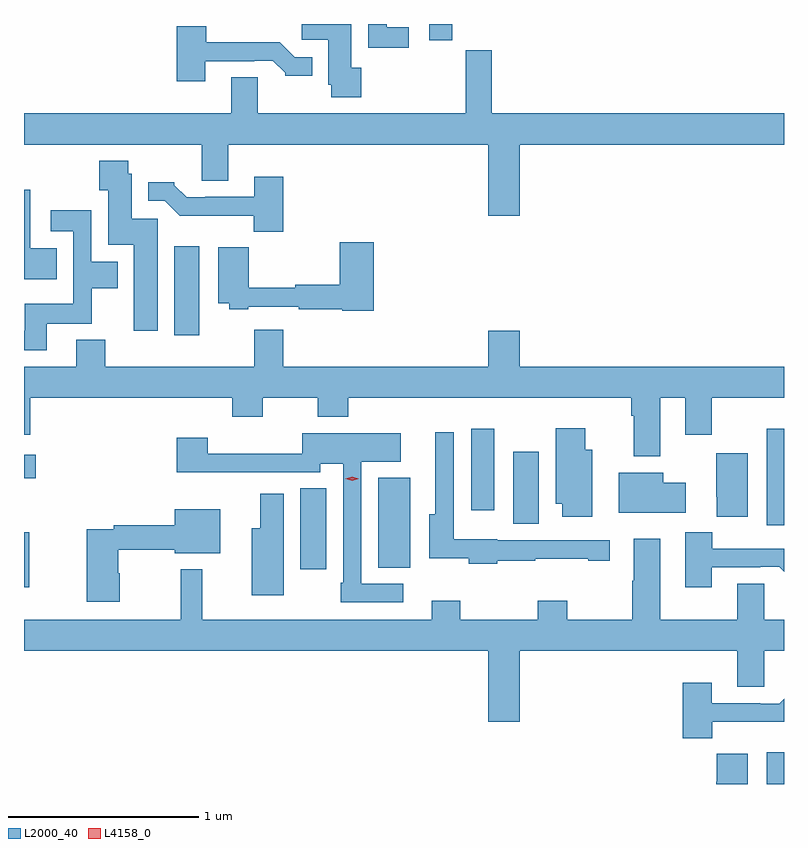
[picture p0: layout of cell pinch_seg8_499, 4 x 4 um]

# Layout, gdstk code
import gdstk
lib = gdstk.Library(unit=1e-6, precision=1e-09)
def R(c, l, rs):  # rectangles x0, y0, x1, y1
    for r in rs: c.add(gdstk.rectangle(r[:2], r[2:], *l))
def P(c, l, *ps):  # polygons
    for p in ps: c.add(gdstk.Polygon(p, *l))
L2000_40 = (2000, 40)
L4158_0 = (4158, 0)

pinch_seg8_499 = lib.new_cell('pinch_seg8_499')
R(pinch_seg8_499, L2000_40, [(226.412,1121.127,226.504,1121.293), (222.504,1122.162,222.531,1122.451), (223.958,1122.258,224.095,1122.683), (224.369,1122.265,224.536,1122.739), (226.412,1122.489,226.504,1122.997), (225.08,1122.496,225.214,1122.877), (224.858,1122.567,224.98,1122.997), (222.504,1122.737,222.565,1122.859), (223.295,1123.488,223.426,1123.957), (224.636,1125.042,224.758,1125.127)])
P(pinch_seg8_499, L2000_40, [(224.279,1124.898),(224.227,1124.898),(224.227,1125.127),(223.967,1125.127),(223.967,1125.045),(224.105,1125.045),(224.105,1124.808),(224.122,1124.808),(224.122,1124.742),(224.279,1124.742)],
  [(224.53,1125.111),(224.412,1125.111),(224.412,1125.127),(224.316,1125.127),(224.316,1125.003),(224.53,1125.003)],
  [(223.459,1124.931),(223.715,1124.931),(223.715,1124.934),(223.814,1124.934),(223.878,1124.87),(223.878,1124.855),(224.02,1124.855),(224.02,1124.952),(223.929,1124.952),(223.851,1125.031),(223.462,1125.031),(223.462,1125.115),(223.307,1125.115),(223.307,1124.826),(223.459,1124.826)],
  [(225.112,1124.492),(226.504,1124.492),(226.504,1124.656),(224.966,1124.656),(224.966,1124.989),(224.83,1124.989),(224.83,1124.656),(223.735,1124.656),(223.735,1124.846),(223.595,1124.846),(223.595,1124.656),(222.504,1124.656),(222.504,1124.492),(223.439,1124.492),(223.439,1124.302),(223.579,1124.302),(223.579,1124.492),(224.948,1124.492),(224.948,1124.118),(225.112,1124.118)],
  [(223.207,1124.103),(223.072,1124.103),(223.072,1124.34),(223.053,1124.34),(223.053,1124.407),(222.901,1124.407),(222.901,1124.251),(222.947,1124.251),(222.947,1123.964),(223.082,1123.964),(223.082,1123.512),(223.207,1123.512)],
  [(223.868,1124.323),(223.715,1124.323),(223.715,1124.217),(223.459,1124.217),(223.459,1124.214),(223.36,1124.214),(223.296,1124.278),(223.296,1124.293),(223.157,1124.293),(223.157,1124.196),(223.245,1124.196),(223.324,1124.118),(223.713,1124.118),(223.713,1124.033),(223.868,1124.033)],
  [(222.677,1123.948),(222.538,1123.948),(222.538,1124.254),(222.504,1124.254),(222.504,1123.784),(222.677,1123.784)],
  [(222.625,1123.55),(222.861,1123.55),(222.861,1123.736),(222.997,1123.736),(222.997,1123.876),(222.858,1123.876),(222.858,1124.146),(222.645,1124.146),(222.645,1124.037),(222.762,1124.037),(222.762,1123.654),(222.509,1123.654),(222.509,1123.512),(222.504,1123.512),(222.504,1123.41),(222.625,1123.41)],
  [(224.345,1123.978),(224.167,1123.978),(224.167,1123.754),(223.932,1123.754),(223.932,1123.739),(223.688,1123.739),(223.688,1123.951),(223.526,1123.951),(223.526,1123.658),(223.584,1123.658),(223.584,1123.626),(223.684,1123.626),(223.684,1123.638),(223.951,1123.638),(223.951,1123.626),(224.178,1123.626),(224.178,1123.618),(224.345,1123.618)],
  [(225.853,1123.16),(225.983,1123.16),(225.983,1122.966),(226.123,1122.966),(226.123,1123.16),(226.504,1123.16),(226.504,1123.324),(225.112,1123.324),(225.112,1123.513),(224.948,1123.513),(224.948,1123.324),(223.868,1123.324),(223.868,1123.519),(223.715,1123.519),(223.715,1123.324),(222.932,1123.324),(222.932,1123.465),(222.779,1123.465),(222.779,1123.324),(222.504,1123.324),(222.504,1122.966),(222.536,1122.966),(222.536,1123.16),(223.601,1123.16),(223.601,1123.061),(223.761,1123.061),(223.761,1123.16),(224.05,1123.16),(224.05,1123.061),(224.21,1123.061),(224.21,1123.16),(225.701,1123.16),(225.701,1123.064),(225.713,1123.064),(225.713,1122.851),(225.853,1122.851)],
  [(225.496,1122.886),(225.457,1122.886),(225.457,1123),(225.302,1123),(225.302,1122.602),(225.338,1122.602),(225.338,1122.534),(225.496,1122.534)],
  [(224.994,1122.303),(225.194,1122.303),(225.194,1122.313),(225.473,1122.313),(225.473,1122.303),(225.586,1122.303),(225.586,1122.411),(224.994,1122.411),(224.994,1122.415),(224.766,1122.415),(224.766,1122.979),(224.669,1122.979),(224.669,1122.547),(224.636,1122.547),(224.636,1122.314),(224.844,1122.314),(224.844,1122.286),(224.994,1122.286)],
  [(224.5,1122.18),(224.28,1122.18),(224.28,1122.824),(224.488,1122.824),(224.488,1122.973),(223.968,1122.973),(223.968,1122.866),(223.472,1122.866),(223.472,1122.949),(223.307,1122.949),(223.307,1122.767),(223.555,1122.767),(223.555,1122.768),(224.064,1122.768),(224.064,1122.812),(224.184,1122.812),(224.184,1122.187),(224.172,1122.187),(224.172,1122.084),(224.5,1122.084)],
  [(226.312,1122.868),(226.148,1122.868),(226.148,1122.64),(226.15,1122.64),(226.15,1122.533),(226.312,1122.533)],
  [(225.988,1122.712),(225.868,1122.712),(225.868,1122.766),(225.635,1122.766),(225.635,1122.554),(225.988,1122.554)],
  [(223.87,1122.655),(223.748,1122.655),(223.748,1122.472),(223.703,1122.472),(223.703,1122.12),(223.87,1122.12)],
  [(223.008,1122.237),(223,1122.237),(223,1122.36),(223.298,1122.36),(223.298,1122.341),(223.537,1122.341),(223.537,1122.574),(223.298,1122.574),(223.298,1122.488),(222.976,1122.488),(222.976,1122.468),(222.835,1122.468),(222.835,1122.087),(223.008,1122.087)],
  [(226.123,1122.267),(226.379,1122.267),(226.379,1122.27),(226.478,1122.27),(226.504,1122.244),(226.504,1122.364),(226.126,1122.364),(226.126,1122.451),(225.983,1122.451),(225.983,1122.162),(226.123,1122.162)],
  [(225.112,1121.828),(226.259,1121.828),(226.259,1121.638),(226.399,1121.638),(226.399,1121.828),(226.504,1121.828),(226.504,1121.992),(226.399,1121.992),(226.399,1122.182),(226.259,1122.182),(226.259,1121.992),(225.853,1121.992),(225.853,1122.418),(225.713,1122.418),(225.713,1122.197),(225.706,1122.197),(225.706,1121.992),(225.363,1121.992),(225.363,1122.091),(225.208,1122.091),(225.208,1121.992),(224.799,1121.992),(224.799,1122.091),(224.651,1122.091),(224.651,1121.992),(223.442,1121.992),(223.442,1122.256),(223.329,1122.256),(223.329,1121.992),(222.504,1121.992),(222.504,1121.828),(224.948,1121.828),(224.948,1121.454),(225.112,1121.454)],
  [(226.126,1121.454),(226.504,1121.454),(226.504,1121.576),(226.478,1121.55),(226.379,1121.55),(226.379,1121.553),(226.123,1121.553),(226.123,1121.659),(225.971,1121.659),(225.971,1121.369),(226.126,1121.369)],
  [(226.312,1121.287),(226.15,1121.287),(226.15,1121.139),(226.148,1121.139),(226.148,1121.127),(226.312,1121.127)])
P(pinch_seg8_499, L4158_0, [(224.231,1122.724),(224.196,1122.734),(224.196,1122.734),(224.196,1122.734),(224.231,1122.744),(224.266,1122.734),(224.266,1122.734),(224.266,1122.734)])

lib.write_gds('pinch_seg8_499.gds')
